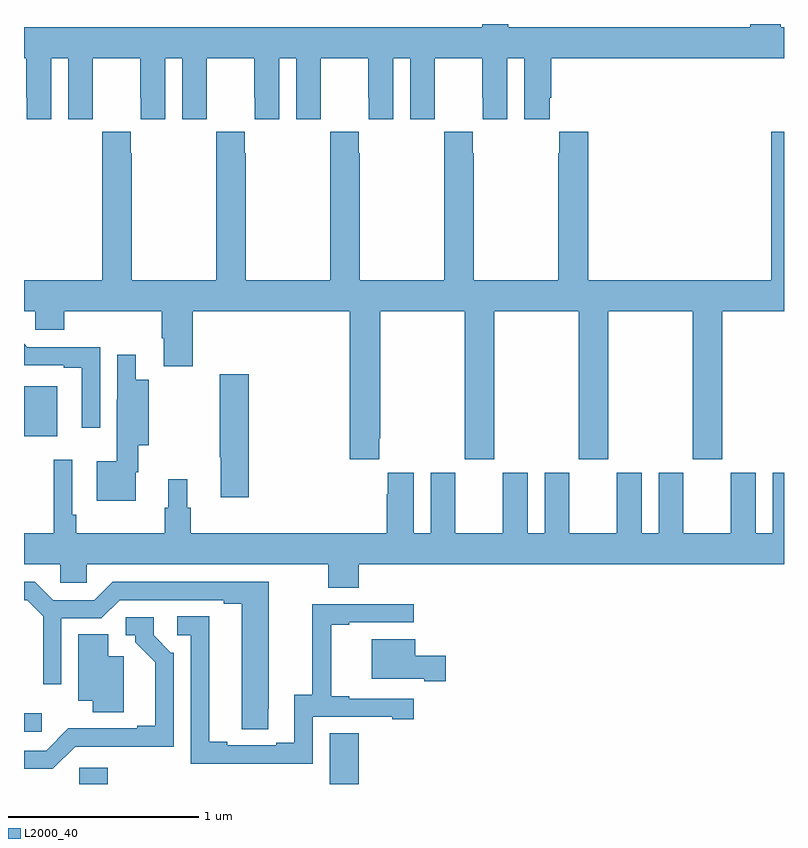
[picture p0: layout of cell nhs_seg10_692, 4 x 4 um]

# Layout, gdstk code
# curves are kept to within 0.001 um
import gdstk
lib = gdstk.Library(unit=1e-6, precision=1e-09)
def R(c, l, rs):  # rectangles x0, y0, x1, y1
    for r in rs: c.add(gdstk.rectangle(r[:2], r[2:], *l))
def P(c, l, *ps):  # polygons
    for p in ps: c.add(gdstk.Polygon(p, *l))
L2000_40 = (2000, 40)

nhs_seg10_692 = lib.new_cell('nhs_seg10_692')
R(nhs_seg10_692, L2000_40, [(145.29,1292.5,145.442,1292.586), (146.609,1292.5,146.762,1292.768), (145,1292.775,145.093,1292.872), (145,1294.331,145.174,1294.594)])
P(nhs_seg10_692, L2000_40, [(147.632,1296),(147.766,1296),(147.766,1296.112),(147.776,1296.112),(147.776,1296.32),(149,1296.32),(149,1296.484),(148.982,1296.484),(148.982,1296.5),(148.822,1296.5),(148.822,1296.484),(147.549,1296.484),(147.549,1296.5),(147.411,1296.5),(147.411,1296.484),(145,1296.484),(145,1296.32),(145.013,1296.32),(145.013,1296.112),(145.014,1296.112),(145.014,1296),(145.144,1296),(145.144,1296.32),(145.232,1296.32),(145.232,1296),(145.362,1296),(145.362,1296.112),(145.363,1296.112),(145.363,1296.32),(145.613,1296.32),(145.613,1296.112),(145.614,1296.112),(145.614,1296),(145.744,1296),(145.744,1296.32),(145.832,1296.32),(145.832,1296),(145.962,1296),(145.962,1296.112),(145.963,1296.112),(145.963,1296.32),(146.213,1296.32),(146.213,1296.112),(146.214,1296.112),(146.214,1296),(146.344,1296),(146.344,1296.32),(146.432,1296.32),(146.432,1296),(146.562,1296),(146.562,1296.112),(146.563,1296.112),(146.563,1296.32),(146.813,1296.32),(146.813,1296.112),(146.814,1296.112),(146.814,1296),(146.944,1296),(146.944,1296.32),(147.032,1296.32),(147.032,1296),(147.162,1296),(147.162,1296.112),(147.163,1296.112),(147.163,1296.32),(147.413,1296.32),(147.413,1296.112),(147.414,1296.112),(147.414,1296),(147.544,1296),(147.544,1296.32),(147.632,1296.32)],
  [(147.474,1294.988),(147.919,1294.988),(147.919,1294.209),(148.074,1294.209),(148.074,1294.988),(148.519,1294.988),(148.519,1294.209),(148.674,1294.209),(148.674,1294.988),(149,1294.988),(149,1295.932),(148.934,1295.932),(148.934,1295.152),(147.971,1295.152),(147.971,1295.932),(147.817,1295.932),(147.817,1295.819),(147.811,1295.819),(147.811,1295.152),(147.366,1295.152),(147.366,1295.819),(147.363,1295.819),(147.363,1295.932),(147.213,1295.932),(147.213,1295.819),(147.211,1295.819),(147.211,1295.152),(146.766,1295.152),(146.766,1295.819),(146.763,1295.819),(146.763,1295.932),(146.613,1295.932),(146.613,1295.819),(146.611,1295.819),(146.611,1295.152),(146.166,1295.152),(146.166,1295.819),(146.163,1295.819),(146.163,1295.932),(146.013,1295.932),(146.013,1295.819),(146.011,1295.819),(146.011,1295.152),(145.566,1295.152),(145.566,1295.819),(145.563,1295.819),(145.563,1295.932),(145.413,1295.932),(145.413,1295.819),(145.411,1295.819),(145.411,1295.152),(145,1295.152),(145,1294.988),(145.059,1294.988),(145.059,1294.89),(145.211,1294.89),(145.211,1294.988),(145.724,1294.988),(145.724,1294.846),(145.736,1294.846),(145.736,1294.698),(145.889,1294.698),(145.889,1294.988),(146.714,1294.988),(146.714,1294.209),(146.869,1294.209),(146.869,1294.321),(146.874,1294.321),(146.874,1294.988),(147.319,1294.988),(147.319,1294.209),(147.474,1294.209)],
  [(145.401,1294.8),(145.017,1294.8),(145,1294.817),(145,1294.704),(145.208,1294.704),(145.208,1294.692),(145.304,1294.692),(145.304,1294.374),(145.401,1294.374)],
  [(145.587,1294.142),(145.6,1294.142),(145.6,1294.283),(145.656,1294.283),(145.656,1294.627),(145.588,1294.627),(145.588,1294.759),(145.49,1294.759),(145.49,1294.523),(145.489,1294.523),(145.489,1294.198),(145.382,1294.198),(145.382,1293.992),(145.587,1293.992)],
  [(146.183,1294.657),(146.029,1294.657),(146.029,1294.22),(146.036,1294.22),(146.036,1294.008),(146.183,1294.008)],
  [(145.157,1293.82),(145,1293.82),(145,1293.656),(145.191,1293.656),(145.191,1293.558),(145.329,1293.558),(145.329,1293.656),(146.602,1293.656),(146.602,1293.532),(146.762,1293.532),(146.762,1293.656),(149,1293.656),(149,1294.138),(148.94,1294.138),(148.94,1293.82),(148.852,1293.82),(148.852,1294.138),(148.721,1294.138),(148.721,1293.82),(148.471,1293.82),(148.471,1294.138),(148.34,1294.138),(148.34,1293.82),(148.252,1293.82),(148.252,1294.138),(148.121,1294.138),(148.121,1293.82),(147.871,1293.82),(147.871,1294.138),(147.74,1294.138),(147.74,1293.82),(147.652,1293.82),(147.652,1294.138),(147.521,1294.138),(147.521,1293.82),(147.271,1293.82),(147.271,1294.138),(147.14,1294.138),(147.14,1293.82),(147.052,1293.82),(147.052,1294.138),(146.915,1294.138),(146.915,1294.025),(146.909,1294.025),(146.909,1293.82),(145.877,1293.82),(145.877,1293.954),(145.858,1293.954),(145.858,1294.105),(145.76,1294.105),(145.76,1293.954),(145.741,1293.954),(145.741,1293.82),(145.274,1293.82),(145.274,1293.916),(145.254,1293.916),(145.254,1294.207),(145.157,1294.207)],
  [(146.286,1292.896),(146.287,1293.564),(145.467,1293.564),(145.371,1293.468),(145.153,1293.468),(145.057,1293.564),(145,1293.564),(145,1293.468),(145.017,1293.468),(145.101,1293.384),(145.101,1293.024),(145.197,1293.024),(145.197,1293.372),(145.407,1293.372),(145.503,1293.468),(146.051,1293.468),(146.051,1293.448),(146.147,1293.448),(146.147,1292.788),(146.286,1292.788)],
  [(146.52,1292.853),(146.939,1292.853),(146.939,1292.841),(147.052,1292.841),(147.052,1292.949),(146.713,1292.949),(146.713,1292.962),(146.618,1292.962),(146.618,1293.339),(146.713,1293.339),(146.713,1293.351),(147.052,1293.351),(147.052,1293.447),(146.518,1293.447),(146.518,1292.969),(146.423,1292.969),(146.423,1292.718),(146.327,1292.718),(146.327,1292.703),(146.071,1292.703),(146.071,1292.723),(145.975,1292.723),(145.975,1293.383),(145.806,1293.383),(145.806,1293.282),(145.878,1293.282),(145.878,1292.607),(146.52,1292.607)],
  [(145.269,1292.697),(145.788,1292.696),(145.788,1293.192),(145.773,1293.192),(145.683,1293.282),(145.683,1293.378),(145.536,1293.378),(145.536,1293.282),(145.586,1293.282),(145.586,1293.247),(145.691,1293.142),(145.691,1292.806),(145.595,1292.806),(145.595,1292.793),(145.234,1292.794),(145.116,1292.676),(145,1292.676),(145,1292.58),(145.152,1292.58)],
  [(145.525,1293.172),(145.444,1293.172),(145.444,1293.287),(145.286,1293.287),(145.286,1292.939),(145.361,1292.939),(145.361,1292.878),(145.525,1292.878)],
  [(147.22,1293.175),(147.058,1293.175),(147.058,1293.262),(146.831,1293.262),(146.831,1293.053),(147.107,1293.053),(147.107,1293.041),(147.22,1293.041)])

lib.write_gds('nhs_seg10_692.gds')
